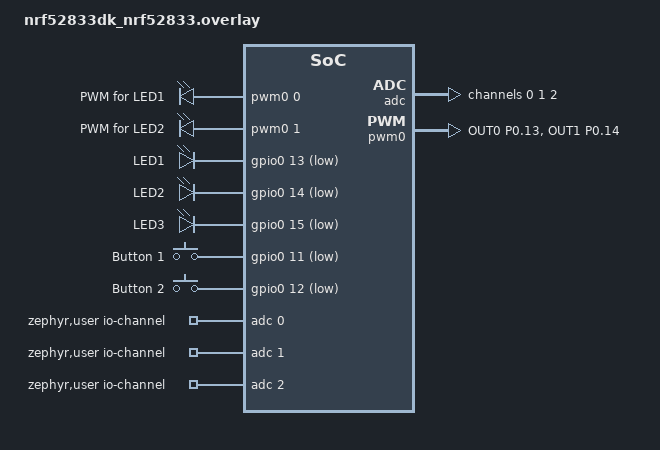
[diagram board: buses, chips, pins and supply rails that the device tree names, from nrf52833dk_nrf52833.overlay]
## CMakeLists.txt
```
# SPDX-License-Identifier: Apache-2.0

cmake_minimum_required(VERSION 3.20.0)
find_package(Zephyr REQUIRED HINTS $ENV{ZEPHYR_BASE})
project(bme_mee)

target_sources(app PRIVATE src/main.c tools/setup.c tools/adc.c tools/rms.c tools/bt.c)
```

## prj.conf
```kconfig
CONFIG_GPIO=y
CONFIG_LOG=y
CONFIG_ADC=y
CONFIG_CBPRINTF_FP_SUPPORT=y
CONFIG_PWM=y
# CONFIG_USBC_VBUS_DRIVER=y

# BLE
CONFIG_BT=y
CONFIG_BT_PERIPHERAL=y
CONFIG_BT_DEVICE_NAME="MojoFinal"
CONFIG_BT_DEVICE_APPEARANCE=0
CONFIG_BT_MAX_CONN=1
CONFIG_BT_LL_SOFTDEVICE=y
CONFIG_BT_BAS=y # Battery Service GATT
CONFIG_BT_SETTINGS=y
CONFIG_SETTINGS_RUNTIME=y
CONFIG_SETTINGS=y
CONFIG_SETTINGS_NONE=y

CONFIG_BT_DIS=y # Device Information Service GATT
CONFIG_BT_DIS_SETTINGS=y
CONFIG_BT_DIS_STR_MAX=41
CONFIG_BT_DIS_MODEL="Mojo Final"
CONFIG_BT_DIS_MANUF="Duke MEE"
CONFIG_BT_DIS_SERIAL_NUMBER=y
CONFIG_BT_DIS_SERIAL_NUMBER_STR="0001" # serial number
CONFIG_BT_DIS_FW_REV=y
CONFIG_BT_DIS_FW_REV_STR="0.1.0" # semantic version numbering
CONFIG_BT_DIS_HW_REV=y
CONFIG_BT_DIS_HW_REV_STR="0.1.0" # semantic version numbering
CONFIG_BT_DIS_SW_REV=y
CONFIG_BT_DIS_SW_REV_STR="0.1.0" # semantic version numbering
CONFIG_BT_DIS_PNP=y # plug-n-play (vendor ID)
CONFIG_BT_DIS_PNP_VID_SRC=1
CONFIG_BT_DIS_PNP_VID=0x090e
```

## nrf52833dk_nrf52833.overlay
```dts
/ {
    aliases {
        btnsave = &button0;
        btnbt = &button1;
        led-1 = &led1;
        led-2 = &led2;
        led-3 = &led3;
        pwm-1 = &pwm_led1;
        pwm-2 = &pwm_led2;
        adc-1 = &adc0;
        adc-2 = &adc1;
        adc-3 = &adc2;
    };

    pwm_leds {
        compatible = "pwm-leds";
        pwm_led1: pwm_led_1 {
            pwms = <&pwm0 0 PWM_MSEC(1) PWM_POLARITY_INVERTED>;
            label = "PWM for LED1";
        };
        pwm_led2: pwm_led_2 {
            pwms = <&pwm0 1 PWM_MSEC(1) PWM_POLARITY_INVERTED>;
            label = "PWM for LED2";
        };
    };

    leds {
        compatible = "gpio-leds";
        led1: led_1 {
            gpios = <&gpio0 13 GPIO_ACTIVE_LOW>;
            label = "LED1";
        };
        led2: led_2 {
            gpios = <&gpio0 14 GPIO_ACTIVE_LOW>;
            label = "LED2";
        };
        led3: led_3 {
            gpios = <&gpio0 15 GPIO_ACTIVE_LOW>;
            label = "LED3";
        };
    };

    buttons {
        compatible = "gpio-keys";
        button0: button_0 {
            gpios = <&gpio0 11 (GPIO_PULL_UP | GPIO_ACTIVE_LOW)>;
            label = "Button 1";
        };
        button1: button_1 {
            gpios = <&gpio0 12 (GPIO_PULL_UP | GPIO_ACTIVE_LOW)>;
            label = "Button 2";
        };
    };

    zephyr,user {
        io-channels = <&adc 0>, <&adc 1>, <&adc 2>;
    };
};

&adc {
    #address-cells = <1>;
    #size-cells = <0>;

    adc0: channel@0 {   // +/- 5-50 mV
        reg = <0>;
        zephyr,reference = "ADC_REF_INTERNAL";
        zephyr,gain = "ADC_GAIN_4";
        zephyr,acquisition-time = <ADC_ACQ_TIME_DEFAULT>;
        zephyr,input-positive = <NRF_SAADC_AIN1>; // P0.03
        zephyr,input-negative = <NRF_SAADC_AIN2>; // P0.04
        zephyr,resolution = <12>;
    };
    adc1: channel@1 {   // +/- 10-150 mV
        reg = <1>;
        zephyr,reference = "ADC_REF_INTERNAL";
        zephyr,gain = "ADC_GAIN_2";
        zephyr,acquisition-time = <ADC_ACQ_TIME_DEFAULT>;
        zephyr,input-positive = <NRF_SAADC_AIN6>; // P0.30
        zephyr,input-negative = <NRF_SAADC_AIN7>; // P0.31
        zephyr,resolution = <12>;
    };
    adc2: channel@2 { // Battery
        reg = <2>;
        zephyr,reference = "ADC_REF_INTERNAL";
        zephyr,gain = "ADC_GAIN_1_3";
        zephyr,acquisition-time = <ADC_ACQ_TIME_DEFAULT>;
        zephyr,input-positive = <NRF_SAADC_AIN0>; // P0.02
        zephyr,resolution = <12>;
    };
    status = "okay";
};

&pwm0 {
    compatible = "nordic,nrf-pwm";
    reg = <0x4001c000 0x1000>;
    interrupts = <28 NRF_DEFAULT_IRQ_PRIORITY>;
    status = "okay";
    #pwm-cells = <3>;
    pinctrl-0 = <&pwm0_default>;
    pinctrl-1 = <&pwm0_sleep>;
    pinctrl-names = "default", "sleep";
};

&pinctrl {
    compatible = "nordic,nrf-pinctrl";
    status = "okay";
    pwm0_default: pwm0_default {
        group1 {
            psels = <NRF_PSEL(PWM_OUT0, 0, 13)>,
                    <NRF_PSEL(PWM_OUT1, 0, 14)>;
            nordic,invert;
        };
    };
    pwm0_sleep: pwm0_sleep {
        group1 {
            psels = <NRF_PSEL(PWM_OUT0, 0, 13)>,
                    <NRF_PSEL(PWM_OUT1, 0, 14)>;
            low-power-enable;
        };
    };
};
```

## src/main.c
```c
#include <zephyr/kernel.h>
#include <zephyr/drivers/adc.h>
#include <zephyr/drivers/gpio.h>
#include <zephyr/logging/log.h>
#include <zephyr/drivers/pwm.h>
// #include <zephyr/drivers/usb_c/usbc_vbus.h>
#include <stdlib.h>
#include <nrfx_power.h>

#include "../tools/macros.h"
#include "../tools/setup.h"
#include "../tools/adc.h"
#include "../tools/bt.h"
#include "../tools/rms.h"

/* Logger */
LOG_MODULE_REGISTER(main, LOG_LEVEL_INF);

/* States */
int state = STATE_DEFAULT;

/* Voltages */
int8_t vq1[N_VOLTAGE] = {0}; // FIFO: indexed via vble[(i1+i) % N_VOLTAGE]
int16_t vq2[N_VOLTAGE] = {0};
uint16_t vble[N_BLE] = {0};
int i1_1 = 0;
int i1_2 = 0;
float sqsum[N_BLE] = {0};

/* Miscellaneous */
int err;

/* ADC macros */
#define ADC_DT_SPEC_GET_BY_ALIAS(node_id)                   \
	{                                                       \
		.dev = DEVICE_DT_GET(DT_PARENT(DT_ALIAS(node_id))), \
		.channel_id = DT_REG_ADDR(DT_ALIAS(node_id)),       \
		ADC_CHANNEL_CFG_FROM_DT_NODE(DT_ALIAS(node_id))     \
	} \

#define DT_SPEC_AND_COMMA(node_id, prop, idx) \
	ADC_DT_SPEC_GET_BY_IDX(node_id, idx),

/* PWM */
const struct pwm_dt_spec pwm1 = PWM_DT_SPEC_GET(DT_ALIAS(pwm_1));
const struct pwm_dt_spec pwm2 = PWM_DT_SPEC_GET(DT_ALIAS(pwm_2));

/* LEDs */
const struct gpio_dt_spec led1 = GPIO_DT_SPEC_GET(DT_ALIAS(led_1), gpios);
const struct gpio_dt_spec led2 = GPIO_DT_SPEC_GET(DT_ALIAS(led_2), gpios);
const struct gpio_dt_spec led3 = GPIO_DT_SPEC_GET(DT_ALIAS(led_3), gpios);

/* Buttons */
const struct gpio_dt_spec btn_save = GPIO_DT_SPEC_GET(DT_ALIAS(btnsave), gpios);
const struct gpio_dt_spec btn_bt = GPIO_DT_SPEC_GET(DT_ALIAS(btnbt), gpios);

/* ADCs */
const struct adc_dt_spec adc1 = ADC_DT_SPEC_GET_BY_ALIAS(adc_1);
const struct adc_dt_spec adc2 = ADC_DT_SPEC_GET_BY_ALIAS(adc_2);
const struct adc_dt_spec adc_bat = ADC_DT_SPEC_GET_BY_ALIAS(adc_3);

/* VBUS */
void toggle_vbus_led(struct k_timer *vbus_led_timer);
void toggle_vbus_led(struct k_timer *vbus_led_timer)
{
	err = gpio_pin_toggle_dt(&led3);
	if (err)
		LOG_ERR("Error toggling VBUS LED.");
}
void set_vbus_led_off(struct k_timer *vbus_led_timer);
void set_vbus_led_off(struct k_timer *vbus_led_timer)
{
	err = gpio_pin_set_dt(&led3, 0);
	if (err)
		LOG_ERR("Error turning off VBUS LED.");
}
K_TIMER_DEFINE(vbus_led_timer, toggle_vbus_led, set_vbus_led_off);

void check_vbus(struct k_timer *vbus_timer);
void check_vbus(struct k_timer *vbus_timer) {
	bool usbregstatus = nrf_power_usbregstatus_vbusdet_get(NRF_POWER);
	if (usbregstatus) {
		LOG_ERR("VBUS voltage detected. Device cannot be operated while charging.");
		if(state==STATE_DEFAULT) {
			LOG_DBG("VBUS LED timer started.");
			k_timer_start(&vbus_led_timer, K_MSEC(T_VBUS_LED), K_MSEC(T_VBUS_LED));
		}
		state = STATE_VBUS_DETECTED;

		err = gpio_pin_set_dt(&led1, 0);
		if (err) LOG_ERR("Error turning off LED 1.");
		err = gpio_pin_set_dt(&led2, 0);
		if (err) LOG_ERR("Error turning off LED 1.");
	}
	else {
		LOG_DBG("VBUS voltage checked and not detected.");
		k_timer_stop(&vbus_led_timer);
		state = STATE_DEFAULT;
	}
}
K_TIMER_DEFINE(vbus_timer, check_vbus, NULL);

/* Battery Level */
int batt_counter = 0;

/* BLE */
extern struct bt_conn *current_conn;
struct bt_conn_cb bluetooth_callbacks = {
	.connected = on_connected,
	.disconnected = on_disconnected,
};

struct bt_remote_srv_cb remote_service_callbacks = {
	.notif_changed = on_notif_changed,
	.data_rx = on_data_rx,
};

double vpp_to_ratio(int vpp, int vpp_min, int vpp_max);
double vpp_to_ratio(int vpp, int vpp_min, int vpp_max)
{
	vpp = vpp < vpp_min ? vpp_min : vpp;
	vpp = vpp > vpp_max ? vpp_max : vpp;
	float slope = 1.0 / (vpp_max - vpp_min);
	LOG_DBG("VPP=%d\tVmin=%d\tVmax=%d\tRatio=%f", vpp, vpp_min, vpp_max, slope * (vpp - vpp_min));
	return slope * (vpp - vpp_min);
}

static double pwm_frac;
void modulate_led_brightness(struct adc_dt_spec adc, struct pwm_dt_spec pwm, int led)
{
	int mV = read_adc(adc);
	if (state == STATE_DEFAULT){
		add_v(led, mV);
		int vpp_min = led == 1 ? VPP_MIN1 : VPP_MIN2;
		int vpp_max = led == 1 ? VPP_MAX1 : VPP_MAX2;
		int vble_idx = led == 1 ? T_DATA_S - 1 : (T_DATA_S * N_INPUT) - 1;
		int vpp = vble[vble_idx] * sqrt(2);
		pwm_frac = vpp_to_ratio(vpp, vpp_min, vpp_max);
		uint32_t pulsewidth = pwm.period * pwm_frac;
		LOG_DBG("LED%d\tpw=%d\t=%d*%f\tvrms/vmax=%d/%d", led, pulsewidth, pwm.period, pwm_frac, vble[vble_idx], vpp_max);
		err = pwm_set_pulse_dt(&pwm, pulsewidth);
		if(err) LOG_ERR("Error updating duty cycle of PWM channel %d", pwm.channel);
	}
	else {
		nop
	}
}

void main(void)
{
	check_devices_ready(led1, pwm1, adc1, adc2, adc_bat);
	configure_pins(led1, led2, led3, btn_save, btn_bt, adc1, adc2, adc_bat);
	setup_callbacks(btn_save, btn_bt);
	err = bluetooth_init(&bluetooth_callbacks, &remote_service_callbacks);
	if (err) LOG_ERR("BT init failed (err = %d)", err);
	k_timer_start(&vbus_timer, K_MSEC(T_VBUS), K_MSEC(T_VBUS));
	while (1)
	{
		k_usleep(T_ADC_READ_US);
		if (state == STATE_DEFAULT)
		{
			/* LED Brightness Modulation */
			modulate_led_brightness(adc1, pwm1, 1);
			modulate_led_brightness(adc2, pwm2, 2);

			/* Battery Level */
			batt_counter++;
			if(batt_counter == T_BAT_CHECK) {
				batt_counter = 0;
				int mV = read_adc(adc_bat);
				bluetooth_set_battery_level(mV, NOMINAL_BATT_MV);
			}
			
		}
	}
}
```
